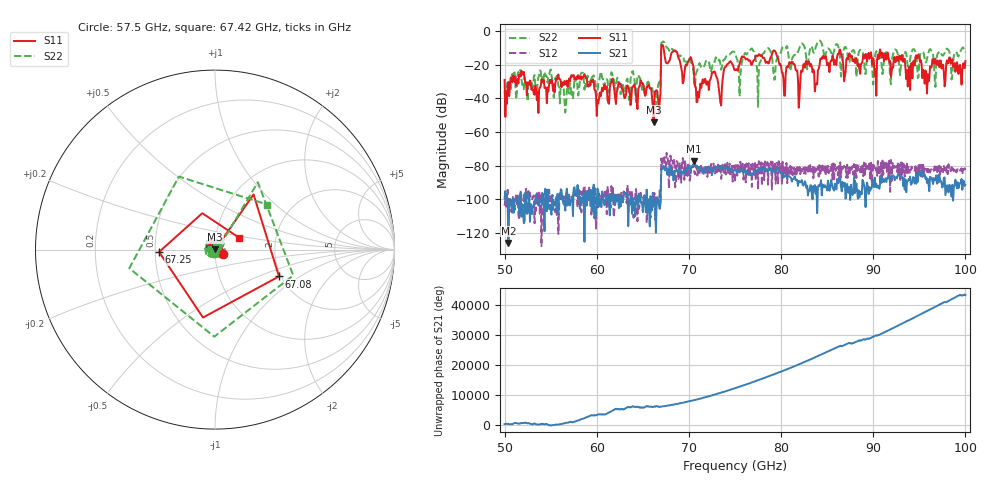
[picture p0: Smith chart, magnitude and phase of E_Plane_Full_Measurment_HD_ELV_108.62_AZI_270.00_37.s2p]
! 11/26/2026 3:34:26 PM
! C:\ANRITSUVNA\TEMP\TEMP.S2P
! CHANNEL.1
! TR.MEASUREMENT
! RAW.DATA
# HZ S RI R 50.0
! FREQ.HZ  S11RE  S11IM  S21RE  S21IM  S12RE  S12IM  S22RE  S22IM
!; PortSelection: Port_12
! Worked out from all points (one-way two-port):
!   601 points, 50 GHz to 100 GHz, reference 50 ohm
!   highest |S21| = -77.24 dB at 70.58 GHz (marker M1); lowest = -126.0 dB at 50.42 GHz (marker M2)
!   lowest |S11| = -54.2 dB at 66.17 GHz (marker M3), VSWR 1.00, Z = 50.1 + j0.141 ohm
!   |S11| at or under -10 dB: start of sweep to 67 GHz; 67.24 GHz to end of sweep
!   |S22| runs from -48.4 to -5.6 dB; largest |S21 - S12| = 0.00032
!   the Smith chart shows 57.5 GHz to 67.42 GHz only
!   S11 on the Smith chart (normalised r, x): 57.5 GHz: 1.09, -0.05; 67.08 GHz: 1.95, -0.69; 67.25 GHz: 0.52, -0.02; 67.42 GHz: 1.29, +0.18
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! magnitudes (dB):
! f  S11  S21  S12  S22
! 50 GHz  -29.0  -99.6  -104.0  -35.8
! 50.42 GHz  -30.3  -126.0  -101.8  -33.8
! 57.5 GHz  -26.2  -93.7  -94.6  -34.6
! 58.42 GHz  -27.2  -101.1  -95.4  -24.7
! 60.17 GHz  -43.1  -95.4  -104.8  -30.4
! 66.17 GHz  -54.2  -102.9  -100.5  -34.0
! 66.67 GHz  -41.5  -100.6  -99.8  -31.6
! 67.08 GHz  -8.3  -80.5  -79.9  -6.8
! 67.25 GHz  -10.1  -80.2  -74.0  -6.2
! 67.42 GHz  -16.5  -82.9  -81.2  -8.3
! 70.58 GHz  -27.3  -77.2  -84.2  -33.0
! 73.42 GHz  -42.5  -81.9  -79.1  -19.8
! 74.08 GHz  -20.4  -81.1  -83.4  -14.9
! 75 GHz  -23.3  -82.7  -90.1  -13.0
! 79.25 GHz  -11.5  -83.3  -84.4  -28.9
! 80.25 GHz  -28.0  -87.2  -87.1  -9.3
! 83.42 GHz  -24.5  -100.1  -80.0  -10.8
! 91.67 GHz  -16.8  -87.8  -87.4  -15.2
! 93.75 GHz  -33.0  -89.3  -84.4  -21.3
! 94.83 GHz  -15.0  -89.8  -85.6  -27.9
! 95.83 GHz  -37.1  -90.4  -83.8  -16.5
! 100 GHz  -17.9  -91.5  -82.5  -12.6
